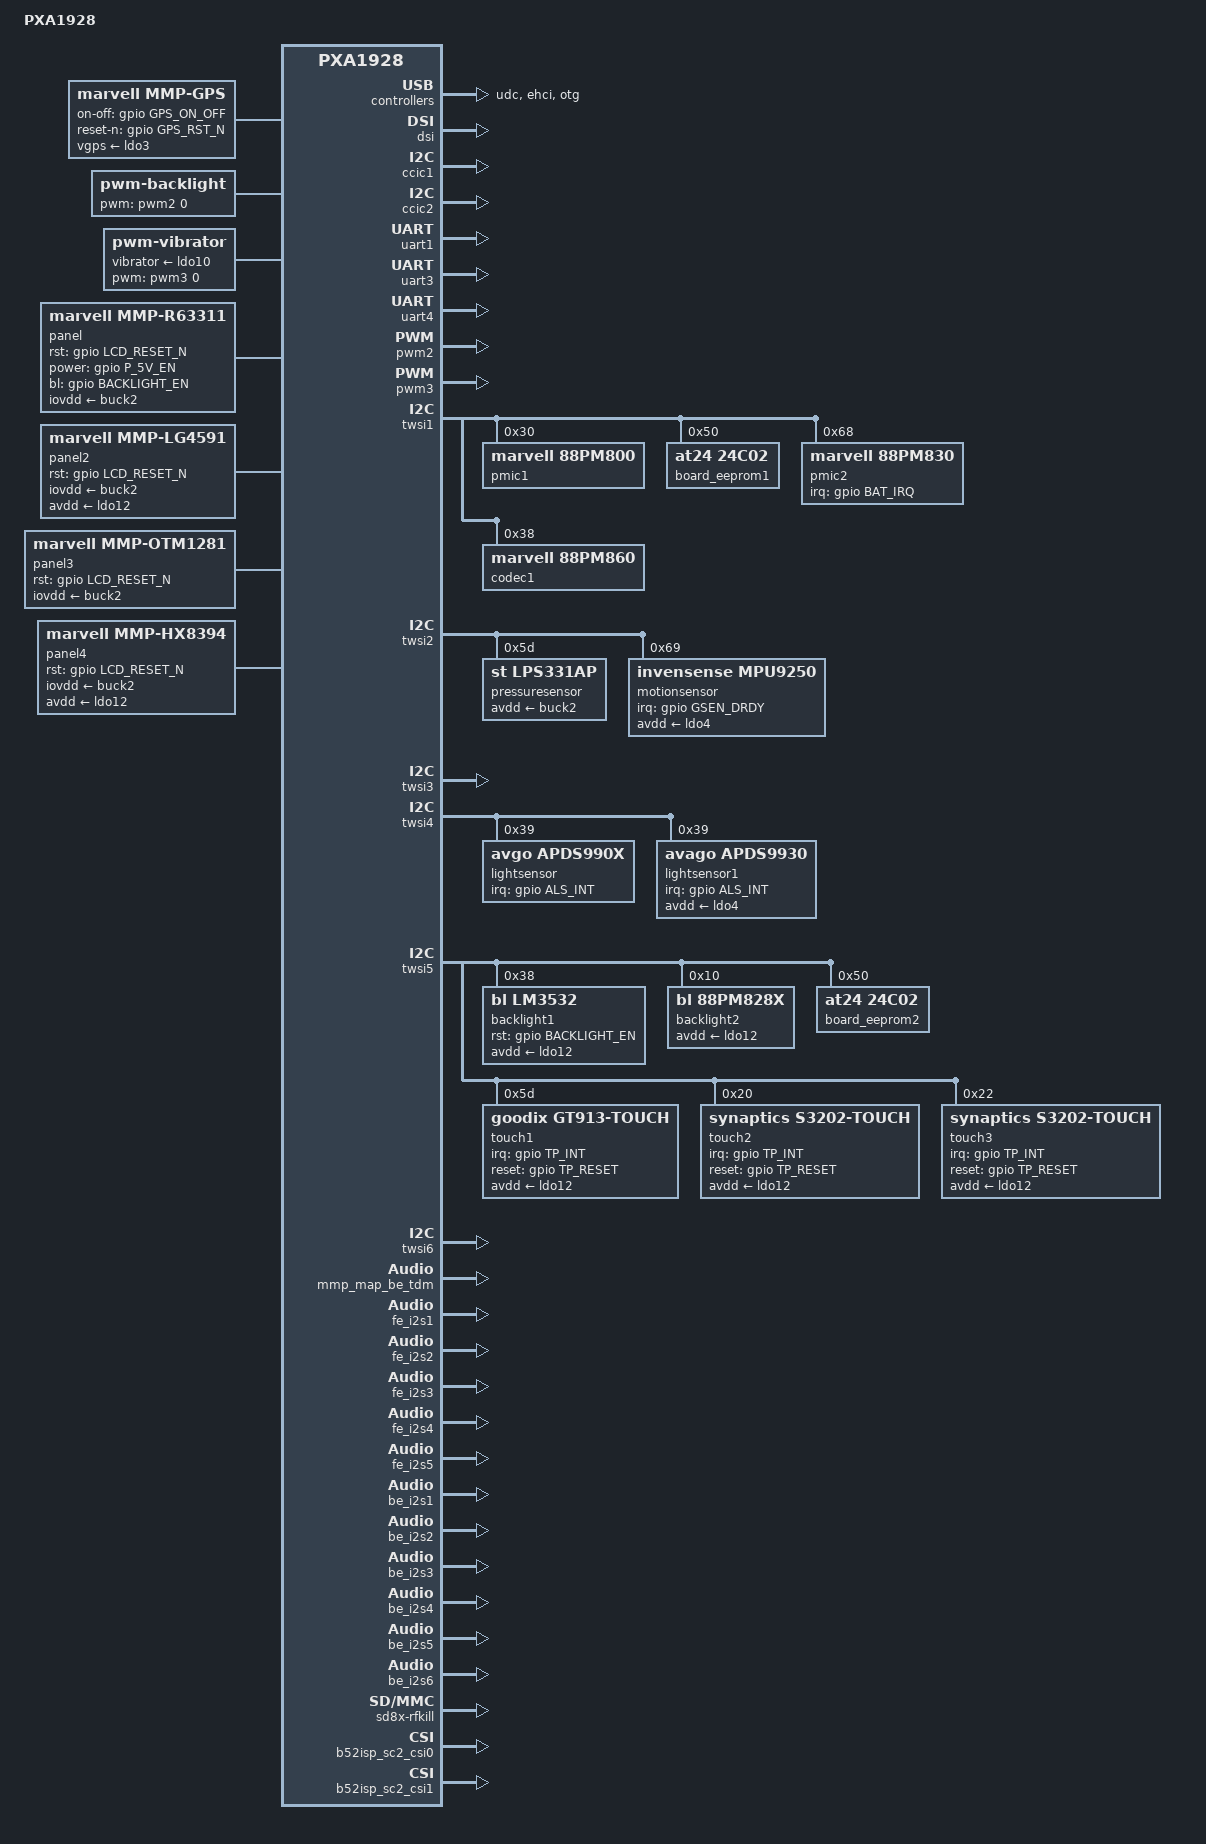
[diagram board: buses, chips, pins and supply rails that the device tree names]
/*
 *  Copyright (C) 2012 Marvell Technology Group Ltd.
 *  Author: Jing Xiang <jing.xiang@marvell.com>
 *
 *  This program is free software; you can redistribute it and/or modify
 *  it under the terms of the GNU General Public License version 2 as
 *  publishhed by the Free Software Foundation.
 */

/dts-v1/;
/memreserve/ 0x09000000 0x01000000;	/* GC reserved 16M */
/memreserve/ 0x17000000 0x017f4c00;	/* default fb-mem (size: 256_align(1080*4)*1920*3+pitch_align(256_align(1080*4)*1920/512)*3(for dec header)) */
/memreserve/ 0x08100000 0x00040000;	/* ramoops buffer (256KB) */
#include "pxa1928.dtsi"
#include "pxa1928concord-pinfunc.h"
#include "regulator.h"
#include "pxa1928concord-pmic.dtsi"
#include <dt-bindings/mmc/pxa_sdhci.h>

/ {
	model = "PXA1928";
	compatible = "mrvl,pxa1928-concord", "mrvl,pxa1928";

	interrupt-parent = <&gic>;

	aliases {
		serial0 = &uart3;
		serial2 = &uart1;
	};

	memory {
		device_type = "memory";
		reg = <0 0 0x40000000>;
	};

	gic: interrupt-controller@d1e02000 {
		status = "okay";
	};

	generic-timer {
		status = "okay";
	};

	gps: mmp-gps {
		compatible = "marvell,mmp-gps";
		pinctrl-names = "lpm_drv_low", "lpm_drv_high";
		pinctrl-0 = <&gps_lpm_drv_low_pins>;
		pinctrl-1 = <&gps_lpm_drv_high_pins>;
		marvell,mfp-lpm;
		vgps-supply = <&ldo3>;
		on-off-gpio = <&gpio GPS_ON_OFF 0>;
		reset-n-gpio = <&gpio GPS_RST_N 0>;
	};

	soc {
		axi@d4200000 {	/* AXI */
			wakeup: wakeupgen@d4284000 {
				compatible = "mrvl,pxa1928-intc-wakeupgen";
				reg = <0xd4284000 0x1000>,
					<0xd4282800 0x3ec>;
				mrvl,intc-gbl-mask = <0x114 0x1
							0x1d8 0x1
							0x208 0x1
							0x238 0x1>;
				mrvl,intc-for-sp = <>;
				mrvl,intc-wake-clr = <>;
			};

			usbphy: usbphy@d4207000 {
				status = "okay";
			};

			udc: udc@d4208100 {
				status = "okay";
			};

			ehci: ehci@d4208100 {
				status = "okay";
			};

			otg: otg@d4208100 {
				status = "okay";
			};

			hsicphy: hsicphy@f0a01800 {
				status = "okay";
			};

			hsic: hsic@f0a01100 {
				status = "okay";
			};

			dsi: dsi@d420b800 {
				marvell,phy-name = "mmp_dsi1";
				marvell,plat-path-name = "mmp_pnpath";
				marvell,dsi-lanes = <4>;
				marvell,burst-mode = <2>;
				marvell,hbp-en;
				dsi_avdd-supply = <&buck3>;
				status = "okay";
			};

			vdma: vdma@d427f000 {
				marvell,vdma-num = <4>;
				status = "okay";
				vdma1 {
					marvell,vdma-id = <0>;
					marvell,sram-size = <69632>;
					marvell,is_vid = <0>;
				};
				vdma2 {
					marvell,vdma-id = <1>;
					marvell,sram-size = <0>;
					marvell,is_vid = <0>;
				};
				vdma3 {
					marvell,vdma-id = <2>;
					marvell,sram-size = <60928>;
					marvell,is_vid = <1>;
				};
				vdma4 {
					marvell,vdma-id = <3>;
					marvell,sram-size = <0>;
					marvell,is_vid = <1>;
				};
			};

			apical: apical@d420b400 {
				marvell,apical-num = <1>;
			};

			disp: disp@d420b000 {
				marvell,disp-name = "mmp_disp";
				marvell,path-num = <1>;
				marvell,disp-aclk-dfc;
				marvell,disp-aclk-parent = "pll1_d2", "pll1_416", "pll1_624";
				status = "okay";
				path1 {
					marvell,path-name = "mmp_pnpath";
					marvell,overlay-num = <2>;
					marvell,overlay-table = <0>, <1>;
					marvell,output-type = <1>;
					marvell,path-config = <0x10>;
					marvell,link-config = <1>;
					pn_sclk_clksrc {
						clksrc = "disp1";
					};
					disp1_clksrc {
						clksrc = "pll1_416";
					};
					disp_apmu {
						plat = <2>;
						apmu-reg = <0xd4282984>;
						clksrc-bit = <12>;
						parent1-clk-tbl = "disp1", "pll3";
						parent2-clk-tbl = "pll1_416", "pll1_624", "pll3";
					};
				};
			};

			fb: fbbase {
				marvell,fb-name = "mmp_fb";
				marvell,path-name = "mmp_pnpath";
				marvell,overlay-id = <1>;
				marvell,default-pixfmt = <0x109>;
				marvell,buffer-num = <3>;
				marvell,fb-mem = <0x17000000>;
				status = "okay";
			};

			fb1: fb-overlay {
				marvell,fb-name = "mmp_fb_overlay";
				marvell,path-name = "mmp_pnpath";
				marvell,overlay-id = <0>;
				status = "okay";
			};

			gpu {
				gpu-mem-base = <0x09000000>;
				gpu-mem-size = <0x1000000>;
				status = "okay";
			};

			gpu2d {
				status = "okay";
			};

			sc2mmu1: sc2mmu@d4209000 {
				status = "okay";
			};

			ccic1: ccic@d420a000 {
				status = "okay";
				pinctrl-names = "default", "twsi3", "sccb";
				pinctrl-0 = <&twsi3_ccic1_gpio_pins>;
				pinctrl-1 = <&twsi3_ccic1_pins>;
				pinctrl-2 = <&twsi3_ccic1_sccb_pins>;
			};

			ccic2: ccic@d420a800 {
				status = "okay";
				pinctrl-names = "default", "twsi3", "sccb";
				pinctrl-0 = <&twsi3_ccic2_gpio_pins>;
				pinctrl-1 = <&twsi3_ccic2_pins>;
				pinctrl-2 = <&twsi3_ccic2_sccb_pins>;
				ccic_couple {
					    ccic_coupled = <1>;
				};
			};

			adma0: adma@c0ffd800 {
				status = "okay";
			};
			adma1: adma@c0ffd900 {
				status = "okay";
			};

			/* emmc */
                        sdh3: sdh@d4217000 {
                                pinctrl-names = "default", "fast";
                                pinctrl-0 = <&sdh3_pins_pullup &sdh3_pins_pulldn>;
                                pinctrl-1 = <&sdh3_pins_pullup_fast &sdh3_pins_pulldn_fast>;
                                bus-width = <8>;
                                non-removable;
				marvell,sdh-pm-runtime-en;
				marvell,sdh-flags = <(
						PXA_FLAG_SD_8_BIT_CAPABLE_SLOT |
						PXA_FLAG_ENABLE_CLOCK_GATING |
						PXA_FLAG_NEW_RX_CFG_REG |
						PXA_FLAG_TX_SEL_BUS_CLK
					     )>;
				marvell,sdh-quirks = <(SDHCI_QUIRK_BROKEN_CARD_DETECTION)>;
				marvell,sdh-quirks2 = <(
						SDHCI_QUIRK2_TIMEOUT_SHORT |
						SDHCI_QUIRK2_TUNING_ADMA_BROKEN |
						SDHCI_QUIRK2_FAKE_CMD_INDEX_ERR
						)>;
				marvell,sdh-host-caps = <(MMC_CAP_1_8V_DDR)>;
				marvell,sdh-host-caps2 = <(MMC_CAP2_HS200_1_8V_SDR)>;
/* prop "mrvl,dtr_data": <timing preset_rate src_rate tx_delay rx_delay rx_clk_sel0 rx_clk_sel1 fclk_tune_level fclk_fix_en> */
				marvell,sdh-dtr-data = <PXA_MMC_TIMING_LEGACY PXA_SDH_DTR_26M PXA_SDH_DTR_156M 0 0 0 0 0 0>,
						<PXA_MMC_TIMING_MMC_HS PXA_SDH_DTR_52M PXA_SDH_DTR_156M 0 0 0 0 4 0>,
						<PXA_MMC_TIMING_UHS_DDR50 PXA_SDH_DTR_52M PXA_SDH_DTR_156M 298 673 2 1 4 0>,
						<PXA_MMC_TIMING_MMC_HS200 PXA_SDH_DTR_156M PXA_SDH_DTR_156M 292 210 3 1 0 0>,
						<PXA_MMC_TIMING_MAX PXA_SDH_DTR_PS_NONE PXA_SDH_DTR_156M 0 0 0 0 0 0>;
                                marvell,sdh-tuning-win-limit = <150>;
                                marvell,sdh-dvfs-levels = <4 15>; /* tuning from dvfs level 0 to 15  */
                                marvell,sdh-tuning-mode = <PXA_SDH_TUNING_DVFS>;
				status = "okay";
                        };

			/* sd card */
                        sdh1: sdh@d4280000 {
                                pinctrl-names = "default", "fast";
                                pinctrl-0 = <&sdh1_pins_pullup &sdh1_pins_pulldn>;
                                pinctrl-1 = <&sdh1_pins_pullup_fast &sdh1_pins_pulldn_fast>;
                                bus-width = <4>;
                                vqmmc-supply    = <&ldo17>;
                                vmmc-supply     = <&ldo5>;
				marvell,sdh-pm-runtime-en;
				marvell,sdh-flags = <(
						PXA_FLAG_ENABLE_CLOCK_GATING |
						PXA_FLAG_NEW_RX_CFG_REG |
						PXA_FLAG_TX_SEL_BUS_CLK
					     )>;
				marvell,sdh-quirks2 = <(
						SDHCI_QUIRK2_TIMEOUT_SHORT |
						SDHCI_QUIRK2_BASE_CLOCK_ALWAYS_ON |
						SDHCI_QUIRK2_TUNING_ADMA_BROKEN |
						SDHCI_QUIRK2_SET_AIB_MMC |
						SDHCI_QUIRK2_DMA_CLOCK_FORCE_ON |
						SDHCI_QUIRK2_FAKE_CMD_INDEX_ERR
						)>;
/* prop "mrvl,dtr_data": <timing preset_rate src_rate tx_delay rx_delay rx_clk_sel0 rx_clk_sel1 fclk_tune_level fclk_fix_en> */
				marvell,sdh-dtr-data = <PXA_MMC_TIMING_LEGACY PXA_SDH_DTR_26M PXA_SDH_DTR_156M 0 0 0 0 0 0>,
						<PXA_MMC_TIMING_SD_HS PXA_SDH_DTR_52M PXA_SDH_DTR_156M 0 0 0 0 4 0>,
						<PXA_MMC_TIMING_UHS_DDR50 PXA_SDH_DTR_52M PXA_SDH_DTR_156M 266 0 0 0 4 0>,
						<PXA_MMC_TIMING_UHS_SDR104 PXA_SDH_DTR_156M PXA_SDH_DTR_156M 248 327 3 1 0 0>,
						<PXA_MMC_TIMING_MAX PXA_SDH_DTR_PS_NONE PXA_SDH_DTR_156M 0 0 0 0 0 0>;
                                marvell,sdh-tuning-win-limit = <150>;
                                marvell,sdh-dvfs-levels = <4 15>; /* tuning from dvfs level 0 to 15  */
                                marvell,sdh-tuning-mode = <PXA_SDH_TUNING_DVFS>;
				status = "okay";
                        };

			/* sdio */
			sdh2: sdh@d4280800 {
				pinctrl-names = "default", "fast", "sleep";
				pinctrl-0 = <&sdh2_pins_pullup &sdh2_pins_pulldn>;
				pinctrl-1 = <&sdh2_pins_pullup_fast &sdh2_pins_pulldn_fast>;
				pinctrl-2 = <&sdh2_pins_edge_wakeup>;
				bus-width = <4>;
				marvell,sdh-pm-runtime-en;
				marvell,sdh-quirks = <(SDHCI_QUIRK_BROKEN_CARD_DETECTION)>;
				marvell,sdh-quirks2 = <(
						SDHCI_QUIRK2_FAKE_SDIO_IRQ_IN_UHS |
						SDHCI_QUIRK2_TUNING_ADMA_BROKEN |
						SDHCI_QUIRK2_TIMEOUT_SHORT |
						SDHCI_QUIRK2_BASE_CLOCK_ALWAYS_ON |
						SDHCI_QUIRK2_MANUAL_CARD_DETECT |
						SDHCI_QUIRK2_HOLDSUSPEND_AFTER_REQUEST |
						SDHCI_QUIRK2_FAKE_CMD_INDEX_ERR
						)>;
				marvell,sdh-pm-caps = <(MMC_PM_KEEP_POWER)>;
				marvell,sdh-host-caps2 = <(MMC_CAP2_NO_VOLTAGE_SWITCH)>;
				marvell,sdh-flags = <(
						PXA_FLAG_WAKEUP_HOST |
						PXA_FLAG_TX_SEL_BUS_CLK |
						PXA_FLAG_NEW_RX_CFG_REG |
						PXA_FLAG_DISABLE_PROBE_CDSCAN
						)>;
/* prop "mrvl,dtr_data": <timing preset_rate src_rate tx_delay rx_delay rx_clk_sel0 rx_clk_sel1 fclk_tune_level fclk_fix_en> */
				marvell,sdh-dtr-data = <PXA_MMC_TIMING_LEGACY PXA_SDH_DTR_26M PXA_SDH_DTR_156M 0 0 0 0 0 0>,
						<PXA_MMC_TIMING_SD_HS PXA_SDH_DTR_52M PXA_SDH_DTR_156M 0 0 0 0 4 0>,
						<PXA_MMC_TIMING_UHS_DDR50 PXA_SDH_DTR_52M PXA_SDH_DTR_156M 0 0 0 0 4 0>,
						<PXA_MMC_TIMING_UHS_SDR104 PXA_SDH_DTR_156M PXA_SDH_DTR_156M 250 260 3 1 0 0>,
						<PXA_MMC_TIMING_MAX PXA_SDH_DTR_PS_NONE PXA_SDH_DTR_156M 0 0 0 0 0 0>;
                                marvell,sdh-tuning-win-limit = <150>;
                                marvell,sdh-dvfs-levels = <4 15>; /* tuning from dvfs level 0 to 15  */
                                marvell,sdh-tuning-mode = <PXA_SDH_TUNING_DVFS>;
				marvell,sdh-sdio-probe-tune;
				status = "okay";
			};

		};

		axi@f0400000 {
			dec@0xf0400000 {
				marvell,codec-type = <0>;
				marvell,hw-capacity = <0>;
				status = "okay";
			};

			pp@0xf0400000 {
				marvell,codec-type = <1>;
				marvell,hw-capacity = <0>;
				status = "okay";
			};

			enc@0xf0400800 {
				marvell,codec-type = <2>;
				marvell,hw-capacity = <0>;
				status = "okay";
			};

			b52isp: b52isp@0xF0B00000 {
				status = "okay";
			};
		};

		apb@d4000000 {
			/* PDMA Controller 0 */
			pdma0: pdma@d4000000 {
				status = "okay";
			};

			/* PDMA Controller 1 */
			pdma1: pdma@d4008000 {
				status = "okay";
			};

			/* UART for GPS */
			uart1: uart@d4030000 {
				pinctrl-names = "default"; pinctrl-0 = <&uart1_pins>;
				status = "okay";
			};

			/* UART for AP */
			uart3: uart@d4018000 {
				pinctrl-names = "default","sleep";
				pinctrl-0 = <&uart3_pins_rx &uart3_pins_tx>;
				pinctrl-1 = <&uart3_pins_rx_sleep &uart3_pins_tx>;
				edge-wakeup-gpio = <UART3_RXD_GPIO>;
				status = "okay";
			};

			/* UART for WIFI and SPI NOR */
			uart4: uart@d4016000 {
				pinctrl-names = "default"; pinctrl-0 = <&uart4_pins>;
				status = "okay";
			};

			pwm2: pwm@d401a400 {
				pinctrl-names = "default"; pinctrl-0 = <&pwm2_pins>;
				status = "okay";
			};

			pwm3: pwm@d401a800 {
				pinctrl-names = "default"; pinctrl-0 = <&pwm3_pins>;
				status = "okay";
			};

			mfpr: mfpr@d401e000 {
				pinctrl-names = "default";
				reg = <0xd401e000 0x31c>;
				pinctrl-0 = <&mfp_pins_left_mmc1_1 &mfp_pins_left_mmc1_2 &mfp_pins_group_1 &mfp_pins_left_cp >;
				status = "okay";
			};

			gpio: gpio@d4019000 {
				status = "okay";
			};

			/*
			 * Notice: the spi pins are shared with uart4 which are also connected to wib card.
			 * Spi function will set rx/tx to low which trigger data transfer and cost ~40mA.
			 * So must make sure wib card is removed before enable spi function.
			 */
			spi1: spi@d4035000 {
					pinctrl-names = "default";
					pinctrl-0 = <&spi1_pins>;
					#address-cells = <1>;
					#size-cells = <0>;
					marvell,ssp-enhancement;
					status = "disabled";
					cmmb_if {
						compatible = "maxscend,cmmb";
						bits_per_word = /bits/ 8 <8>;
						reg = <0x0 0x0>;
						bus_num = <1>;
						mode = <0x0>;
						spi-max-frequency = <8000000>;
					};
			};

			twsi1: i2c@d4011000 {
				pinctrl-names = "default", "gpio", "i2c_cp";
				pinctrl-0 = <&twsi1_pins>;
				pinctrl-1 = <&twsi1_gpio_pins>;
				pinctrl-2 = <&twsi1_cp_pins>;
				i2c-gpio = <&gpio PWR_SCL_GPIO 0 &gpio PWR_SDA_GPIO 0>;
				mrvl,i2c-apdcp;
				status = "okay";
				pmic1: 88pm860@30 {
					compatible = "marvell,88pm800";
					reg = <0x30>;
					interrupts = <0 77 0x4>;
					interrupt-parent = <&gic>;
					interrupt-controller;
					#interrupt-cells = <1>;
					marvell,88pm800-power-page-addr = <0x31>;
					marvell,88pm800-gpadc-page-addr = <0x32>;

					regulators {
						compatible = "marvell,88pm80x-regulator";

						buck1a: BUCK1A {PM800_BUCK1A;regulator-boot-on;regulator-always-on;};
						buck2: BUCK2 {PM800_BUCK2;regulator-boot-on;regulator-always-on;};
						buck3: BUCK3 {PM800_BUCK3;regulator-boot-on;regulator-always-on;};
						buck4: BUCK4 {PM800_BUCK4;regulator-boot-on;regulator-always-on;};
						buck5: BUCK5 {PM800_BUCK5;regulator-always-on;};
						buck6: BUCK6 {PM800_BUCK6;};
						buck1b: BUCK1B {PM800_BUCK1B;regulator-boot-on;regulator-always-on;};
						ldo1: LDO1 {PM800_LDO1;regulator-boot-on;regulator-always-on;};
						ldo2: LDO2 {PM800_LDO2;regulator-boot-on;regulator-always-on;};
						ldo3: LDO3 {PM800_LDO3;};
						ldo4: LDO4 {PM800_LDO4;regulator-boot-on;regulator-always-on;};
						ldo5: LDO5 {PM800_LDO5;};
						ldo6: LDO6 {PM800_LDO6;};
						ldo7: LDO7 {PM800_LDO7;};
						ldo8: LDO8 {PM800_LDO8;regulator-boot-on;regulator-always-on;};
						ldo9: LDO9 {PM800_LDO9;};
						ldo10: LDO10 {PM800_LDO10;};
						ldo11: LDO11 {PM800_LDO11;regulator-boot-on;regulator-always-on;};
						ldo12: LDO12 {PM800_LDO12;regulator-boot-on;regulator-always-on;};
						ldo13: LDO13 {PM800_LDO13;};
						ldo14: LDO14 {PM800_LDO14;};
						ldo15: LDO15 {PM800_LDO15;};
						ldo16: LDO16 {PM800_LDO16;regulator-boot-on;regulator-always-on;};
						ldo17: LDO17 {PM800_LDO17;};
						ldo18: LDO18 {PM800_LDO18;};
						ldo19: LDO19 {PM800_LDO19;regulator-boot-on;};
						ldo20: LDO20 {PM800_LDO20;};
					};
					headset {
						compatible = "marvell,88pm80x-headset";
						marvell,headset-flag = <1>;
						marvell,hook-press-th = <60>;
						marvell,vol-up-press-th = <250>;
						marvell,vol-down-press-th = <500>;
						marvell,mic-det-th = <600>;
						marvell,press-release-th = <600>;
						marvell,ground-detect = <0>;
						marvell,micbias-supply = <&ldo20>;
						marvell,micbias-volt = <1700>;
					};
                                        dvc {
                                                compatible = "marvell,88pm8xx-dvc";
							/* pm860 dvc affect buck1/3/5, affected 32bit = (1 << 4) | (1 << 2) | (1 << 0)*/
							/* we don't need to set buck1b since dual phase mode is enabled. */
							dvc-affected-buckbits = <21>;
							pinctrl-names = "default";
							pinctrl-0 = <&dvc_pins>;
					};
					onkey {
						compatible = "marvell,88pm80x-onkey";
						onkey-gpio-number = <1>;
						/* hardware reset: just reset */
						hw-rst-type = <1>;
						/* long onkey: power down */
						long-onkey-type = <1>;
					};
				};

				board_eeprom1:24aa025t@50 {
					compatible = "at24,24c02";
					reg = <0x50>;
				};

				pmic2: 88pm830@68 {
					compatible = "marvell,88pm830";

					/* gpio 4, 5, 75 */
					pinctrl-names = "default","sleep";
					pinctrl-0 = <&pmic2_pins>;
					pinctrl-1 = <&pmic2_pins_sleep>;

					reg = <0x68>;
					interrupt-parent = <&gpio>;
					interrupt-controller;
					interrupts = <BAT_IRQ 0x2>;
					#interrupt-cells = <1>;
					edge-wakeup-gpio = <BAT_IRQ>;

					/* IRQF_ONESHOT | IRQF_TRIGGER_FALLING */
					marvell,88pm830-irq-flags =  <0x2002>;

					/* skip battery detection */
					obm-config-bat-det;

					/*
					 * charger, batttery parameters are based on Lenovo BL209 battery
					 * Part Name: Li-ion Polymer Rechargeable Battery
					 * Pack Parts No.: ALE455557SA
					 * Pack Standard: 2000mAh(0.2C)
					 * Cell Model: SP455557SA
					 * Pack Model: 1S1P-SP455557SA-PCM
					 */
					charger {
						compatible = "marvell,88pm830-chg";
						prechg-current = <100>;	/* mA */
						prechg-voltage = <3300>; /* mV */
						prechg-timeout = <32>; /* minute */

						fastchg-eoc = <20>; /* mA */
						fastchg-voltage = <4200 4200 4000>; /* mV for STR, LTR, HTR */
						fastchg-current = <1500 1000 1500>; /* mA for STR, LTR, HTR */
						fastchg-timeout = <8>; /* hour */

						over-voltage = <4500>; /* mV */

						no-thermal-support = <1>;
						thermal-threshold = <0x54 0x36 0x14 0xe>;

						temp-configure = <0x22>;
						temp-threshold = <150>;

						mppt-weight = <0x2>; /* 25% */
						mppt-period = <0x7>; /* 20ms */
						mppt-start-current = <0xf>; /* 1600mA */

					};

					battery {
						compatible = "marvell,88pm830-bat";

						marvell,fg-has-external-storage;
						external-storage = <&pmic1>;

						bat-ntc-support = <1>;
						bat-capacity = <2000>;	/* mAh */
						external-resistor = <200>; /* mohm */
						sleep-period = <1000>; /* second */
						supp-threshold = <95>; /* % */
						low-threshold = <30>; /* % */
						high-threshold = <50>; /* % */
						ocv-table = <
							3397 3445 3477 3496 3506 3513 3519 3526 3532 3540
							3551 3563 3576 3587 3600 3612 3625 3637 3649 3662
							3674 3687 3699 3709 3719 3727 3733 3739 3744 3748
							3752 3755 3758 3761 3763 3765 3766 3767 3769 3770
							3771 3772 3773 3774 3776 3777 3778 3780 3781 3784
							3786 3790 3794 3799 3805 3812 3819 3828 3838 3846
							3854 3860 3867 3873 3879 3885 3891 3897 3903 3910
							3916 3923 3930 3937 3944 3951 3959 3966 3973 3981
							3989 3997 4006 4015 4024 4034 4043 4053 4063 4073
							4082 4092 4102 4112 4122 4133 4144 4155 4167 4179
						>;
						power-off-threshold = <3350>; /* mV */
						safe-power-off-threshold = <3000>; /* mV */

						/* battery temerature feature parameters */
						temp-range-num = <2>;
						switch-thr = <15 64 64>; /* C */
						gp0-bias-curr = <16 56 56 56>; /* uA */
						/* choose -20C, 0C, 10C, 45C, 50C, 60C as threshold */
						r-tbat-thr = <77523 28704 18410 4847 4101 2981>; /* ohm */
						ntc-table-size = <88>;
						/* -24C, -23C, ..., 62C, 63C */
						ntc-table = <
							96391 91222 86369 81809 77523 73492 69701 66132
							62772 59606 56623 53810 51157 48654 46290 44058
							41950 39957 38072 36290 34603 33006 31494 30062
							28704 27417 26197 25039 23940 22897 21906 20964
							20070 19219 18410 17641 16909 16212 15548 14916
							14313 13739 13192 12670 12171 11696 11242 10809
							10395 10000 9622  9261  8916  8585  8269  7967
							7678  7400  7135  6881  6637  6403  6180  5965
							5759  5561  5372  5189  5015  4847  4686  4531
							4382  4238  4101  3969  3842  3719  3601  3488
							3379  3274  3172  3075  2981  2890  2803  2719
						>;
					};

					usb {
						compatible = "marvell,88pm830-vbus";
						gpadc-number = <1>;
					};

					led {
						compatible = "marvell,88pm830-led";

						flash-en-gpio = <FLASH_EN>;
						flash-txmsk-gpio = <TORCH_EN>;
						max-flash-current = <1000>; /* mA */
						max-torch-current = <400>; /* mA */
					};
				};

				codec1: 88pm860@38 {
					compatible = "marvell,88pm860";
					reg = <0x38>;
					status = "okay";
					pm860_codec: pm860_codec {
						compatible = "marvell,88pm860-codec";
						#dailink-cells = <1>;
					};
				};
			};

			twsi2: i2c@d4031000 {
				pinctrl-names = "default", "gpio";
				pinctrl-0 = <&twsi2_pins>;
				pinctrl-1 = <&twsi2_gpio_pins>;
				i2c-gpio = <&gpio TWSI2_SCL_GPIO 0 &gpio TWSI2_SDA_GPIO 0>;
				mrvl,i2c-polling;
				status = "okay";

				pressuresensor: lps331ap@5d {
					compatible = "st,lps331ap";
					reg = <0x5d>;
					lps331ap,poll_interval = <1000>;
					avdd-supply = <&buck2>;
				};

				motionsensor: mpu9250@69 {
					pinctrl-names = "default"; pinctrl-0 = <&motion_sensor_pins>;
					compatible = "invensense,mpu9250";
					reg = <0x69>;
					interrupt-parent = <&gpio>;
					interrupts = <GSEN_DRDY 0x2>;
					inven,irq-gpios = <&gpio GSEN_DRDY 0x00>;
					avdd-supply = <&ldo4>;
					axis_map_x = <0>;
					negate_x = <0>;
					axis_map_y = <1>;
					negate_y = <0>;
					axis_map_z = <2>;
					negate_z = <0>;
					inven,secondary_axis_map_x = <0>;
					inven,secondary_negate_x = <0>;
					inven,secondary_axis_map_y = <1>;
					inven,secondary_negate_y = <0>;
					inven,secondary_axis_map_z = <2>;
					inven,secondary_negate_z = <0>;
					inven,secondary_type = "compass";
					inven,secondary_name = "ak8963";
					inven,secondary_reg = <0xc>;
				};
			};

			twsi3: i2c@d4032000 {
				/*For B0 chip, pinctrl-0 is used for smart sensor, host I2C
				* pinctrl-1 is used for raw sensor, SCCB
				* we have to uncomment these lines to avoid GPIO configuration conflict
				* let camera module handle these GPIO pins
				*/
				/*
				pinctrl-names = "default", "gpio";
				pinctrl-0 = <&twsi3_pins>;
				pinctrl-1 = <&twsi3_gpio_pins>;
				i2c-gpio = <&gpio TWSI3_SCL_GPIO 0 &gpio TWSI3_SDA_GPIO 0>;
				*/
				status = "okay";
			};

			twsi4: i2c@d4033000 {
				pinctrl-names = "default", "gpio";
				pinctrl-0 = <&twsi4_pins>;
				pinctrl-1 = <&twsi4_gpio_pins>;
				i2c-gpio = <&gpio TWSI4_SCL_GPIO 0 &gpio TWSI4_SDA_GPIO 0>;
				status = "okay";

				lightsensor: apds990x@39 {
					pinctrl-names = "default"; pinctrl-0 = <&lightsensor_pins>;
					compatible = "avgo,apds990x";
					reg = <0x39>;
					interrupt-parent = <&gpio>;
					interrupts = <ALS_INT 0x1>;
				};

				lightsensor1: apds9930@39 {
					pinctrl-names = "default"; pinctrl-0 = <&lightsensor_pins>;
					compatible = "avago,apds9930";
					reg = <0x39>;
					interrupt-parent = <&gpio>;
					interrupts = <ALS_INT 0x1>;
					irq-gpios = <&gpio ALS_INT 0>;
					avdd-supply = <&ldo4>;
				};
			};

			twsi5: i2c@d4033800 {
				pinctrl-names = "default", "gpio";
				pinctrl-0 = <&twsi5_pins>;
				pinctrl-1 = <&twsi5_gpio_pins>;
				i2c-gpio = <&gpio TWSI5_SCL_GPIO 0 &gpio TWSI5_SDA_GPIO 0>;
				status = "okay";

				backlight1: lm3532@38 {
					compatible = "bl,lm3532";
					reg = <0x38>;
					flags = <0>;
					ramp_time = <0>;
					ctrl_a_fs_current = <0x13>;
					ctrl_a_mapping_mode = <0x2>;
					ctrl_a_pwm = <0x86>;
					rst_gpio = <&gpio BACKLIGHT_EN 0>;
					avdd-supply = <&ldo12>;
					feedback_en_val = <0x03>;
					output_cfg_val = <0x0>;
				};

				backlight2: pm828x@10 {
					compatible = "bl,88pm828x";
					reg = <0x10>;
					ramp_mode = <0x2>;
					idac_current = <0xa00>;
					ramp_clk = <0>;
					str_config = <0x1>;
					avdd-supply = <&ldo12>;
				};

				board_eeprom2:24aa025t@50 {
					compatible = "at24,24c02";
					reg = <0x50>;
				};

				touch1: gt913@5d {
					compatible = "goodix,gt913-touch";
					pinctrl-names = "default"; pinctrl-0 = <&touch_pins>;
					reg = <0x5d>;
					interrupt-parent = <&gpio>;
					interrupts = <TP_INT 0x1>;
					irq-gpios = <&gpio TP_INT 0>;
					reset-gpios = <&gpio TP_RESET 0>;
					goodix,max-height = <1280>;
					goodix,max-width = <720>;
					avdd-supply = <&ldo12>;
				};

				touch2: s3202@720p {
					compatible = "synaptics,s3202-touch";
					pinctrl-names = "default"; pinctrl-0 = <&touch_pins>;
					reg = <0x20>;
					interrupt-parent = <&gpio>;
					interrupts = <TP_INT 0x1>;
					/* IRQF_ONESHOT | IRQF_TRIGGER_FALLING */
					synaptics,irq-flags =  <0x2002>;
					synaptics,irq-gpios = <&gpio TP_INT 0>;
					synaptics,reset-gpios = <&gpio TP_RESET 0>;
					synaptics,sensor_res_x = <720>;
					synaptics,sensor_res_y = <1280>;
					synaptics,sensor_max_x = <798>;
					synaptics,sensor_max_y = <1392>;
					synaptics,sensor_margin_x = <39>;
					synaptics,sensor_margin_y = <0>;
					avdd-supply = <&ldo12>;
				};

				touch3: s3202@1080p {
					compatible = "synaptics,s3202-touch";
					pinctrl-names = "default"; pinctrl-0 = <&touch_pins>;
					reg = <0x22>;
					interrupt-parent = <&gpio>;
					interrupts = <TP_INT 0x1>;
					/* IRQF_ONESHOT | IRQF_TRIGGER_FALLING */
					synaptics,irq-flags =  <0x2002>;
					synaptics,irq-gpios = <&gpio TP_INT 0>;
					synaptics,reset-gpios = <&gpio TP_RESET 0>;
					synaptics,sensor_res_x = <1080>;
					synaptics,sensor_res_y = <1920>;
					synaptics,sensor_max_x = <1080>;
					synaptics,sensor_max_y = <2070>;
					synaptics,sensor_margin_x = <0>;
					synaptics,sensor_margin_y = <0>;
					avdd-supply = <&ldo12>;
				};
			};

			twsi6: i2c@d4034000 {
				pinctrl-names = "default", "gpio";
				pinctrl-0 = <&twsi6_pins>;
				pinctrl-1 = <&twsi6_gpio_pins>;
				i2c-gpio = <&gpio TWSI6_SCL_GPIO 0 &gpio TWSI6_SDA_GPIO 0>;
				status = "okay";
			};

			thermal: thermal@d403b000 {
				status = "okay";
				thermal_policy = "DKB";
			};

			edgewakeup: edgewakeup@d4019800 {
				status = "okay";
			};

			keypad: keypad@d4012000 {
				marvell,direct-keys;
				marvell,direct-key-low-active;
				marvell,keypad-lpm-mod;
				marvell,direct-key-count = <8>;
				marvell,direct-key-mask = <0xff>;
				marvell,direct-key-map = < 0x00 0x72 0x00 0x00
						       0x00 0x00 0x00 0x73>;
				marvell,debounce-interval = <30>;
				pinctrl-names = "default";
				pinctrl-0 = <&keypad_in_func>;
				status = "okay";
			};

			rtc: rtc@d4010000 {
				status = "okay";
			};

			/* SSPA port 0 */
			sspa0: sspa@c0ffdc00 {
				pinctrl-names = "default";
				pinctrl-0 = <&sspa0_func>;
				playback_period_bytes = <4096>;
				playback_buffer_bytes = <12288>;
				capture_period_bytes = <4096>;
				capture_buffer_bytes = <8192>;
				sleep_vol = <0x1a>;
				#dailink-cells = <1>;
				status = "okay";
			};

			/* SSPA port 1 */
			sspa1: sspa@c0ffdd00 {
				pinctrl-names = "default";
				pinctrl-0 = <&sspa1_func>;
				playback_period_bytes = <16384>;
				playback_buffer_bytes = <32768>;
				capture_period_bytes = <4096>;
				capture_buffer_bytes = <8192>;
				sleep_vol = <0x1a>;
				#dailink-cells = <1>;
				status = "okay";
			};

			map: map@c3000000 {
				marvell,b0_fix;
				marvell,apll = <0>;
				status = "okay";
				mmp_map_codec: mmp_map_codec {
					compatible = "marvell,mmp-map-codec";
					#dailink-cells = <1>;
				};
				mmp_map_be: mmp_map_be {
					compatible = "marvell,mmp-map-be";
					#dailink-cells = <1>;
				};
				mmp_map_be_tdm: mmp_map_be_tdm {
					compatible = "marvell,mmp-map-be-tdm";
					#dailink-cells = <1>;
				};
			};

			pmx: pinmux@d401e000 {
				status = "okay";
				/* pin base, nr pins & gpio function */
				pinctrl-single,gpio-range = <PXA1928_GPIO_PINMUX>;

				uart1_pins: pinmux_uart1_pins {
					pinctrl-single,pins = <UART1_RXD UART1_TXD>;
					MFP_DEFAULT;
				};

				uart3_pins_rx: pinmux_uart3_pins_rx {
					pinctrl-single,pins = <UART3_RXD>;
					MFP_DEFAULT;
				};

				uart3_pins_tx: pinmux_uart3_pins_tx {
					pinctrl-single,pins = <UART3_TXD>;
					MFP_LPM_PULL_HIGH;
				};

				uart3_pins_rx_sleep: pinmux_uart3_pins_rx_sleep {
					pinctrl-single,pins = <UART3_RXD>;
					MFP_EDGE_BOTH_DETECT;
				};

				uart4_pins: pinmux_uart4_pins {
					pinctrl-single,pins = <UART4_RXD UART4_TXD
								UART4_RTS UART4_CTS>;
					MFP_DEFAULT;
				};

				pwm2_pins: pinmux_pwm2_pins {
					pinctrl-single,pins = <PWM2>;
					MFP_DEFAULT;
				};

				pwm3_pins: pinmux_pwm3_pins {
					pinctrl-single,pins = <PWM3>;
					MFP_DEFAULT;
				};

				ccic1_pins: pinmux_ccic1_pins {
					pinctrl-single,pins = <CAM_MCLK>;
					MFP_DEFAULT;
				};

				ccic2_pins: pinmux_ccic2_pins {
					pinctrl-single,pins = <CAM_MCLK>;
					MFP_DEFAULT;
				};

				spi1_pins: pinmux_spi1_pins {
					pinctrl-single,pins = <	SSP1_CLK SSP1_FRM
								SSP1_TXD SSP1_RXD>;
					MFP_DEFAULT;
				};

				twsi1_pins: pinmux_twsi1_pins {
					pinctrl-single,pins = <PWR_SCL PWR_SDA>;
					MFP_DEFAULT;
				};

				twsi1_gpio_pins: pinmux_twsi1_gpio_pins {
					pinctrl-single,pins = <GPIO(PWR_SCL_GPIO) GPIO(PWR_SDA_GPIO)>;
					MFP_DEFAULT;
				};

				twsi1_cp_pins: pinmux_twsi1_cp_pins {
					pinctrl-single,pins = <PWR_CP_SCL PWR_CP_SDA>;
					MFP_DEFAULT;
				};

				twsi2_pins: pinmux_twsi2_pins {
					pinctrl-single,pins = <TWSI2_SCL TWSI2_SDA>;
					MFP_DEFAULT;
				};

				twsi2_gpio_pins: pinmux_twsi2_gpio_pins {
					pinctrl-single,pins = <GPIO(TWSI2_SCL_GPIO) GPIO(TWSI2_SDA_GPIO)>;
					MFP_DEFAULT;
				};

				twsi3_ccic1_pins: pinmux_twsi3_ccic1_pins {
					pinctrl-single,pins = <TWSI3_SCL_1 TWSI3_SDA_1>;
					MFP_DEFAULT;
				};

				twsi3_ccic1_gpio_pins: pinmux_twsi3_gpio_pins {
					pinctrl-single,pins = <GPIO(TWSI3_SCL_1_GPIO) GPIO(TWSI3_SDA_1_GPIO)>;
					MFP_DEFAULT;
				};

				twsi3_ccic1_sccb_pins: pinmux_twsi3_sccb1_pins {
					pinctrl-single,pins = <TWSI3_SCL_SCCB1 TWSI3_SDA_SCCB1>;
					MFP_DEFAULT;
				};

				twsi3_ccic2_pins: pinmux_twsi3_ccic2_pins {
					pinctrl-single,pins = <TWSI3_SCL_2 TWSI3_SDA_2>;
					MFP_DEFAULT;
				};

				twsi3_ccic2_gpio_pins: pinmux_twsi3_ccic2_gpio_pins {
					pinctrl-single,pins = <GPIO(TWSI3_SCL_2_GPIO) GPIO(TWSI3_SDA_2_GPIO)>;
					MFP_DEFAULT;
				};

				twsi3_ccic2_sccb_pins: pinmux_twsi3_ccic2_sccb_pins {
					pinctrl-single,pins = <TWSI3_SCL_SCCB2 TWSI3_SDA_SCCB2>;
					MFP_DEFAULT;
				};

				twsi4_pins: pinmux_twsi4_pins {
					pinctrl-single,pins = <TWSI4_SCL TWSI4_SDA>;
					MFP_DEFAULT;
				};

				twsi4_gpio_pins: pinmux_twsi4_gpio_pins {
					pinctrl-single,pins = <GPIO(TWSI4_SCL_GPIO) GPIO(TWSI4_SDA_GPIO)>;
					MFP_DEFAULT;
				};

				twsi5_pins: pinmux_twsi5_pins {
					pinctrl-single,pins = <TWSI5_SCL TWSI5_SDA>;
					MFP_DEFAULT;
				};

				twsi5_gpio_pins: pinmux_twsi5_gpio_pins {
					pinctrl-single,pins = <GPIO(TWSI5_SCL_GPIO) GPIO(TWSI5_SDA_GPIO)>;
					MFP_DEFAULT;
				};

				twsi6_pins: pinmux_twsi6_pins {
					pinctrl-single,pins = <TWSI6_SCL TWSI6_SDA>;
					MFP_DEFAULT;
				};

				twsi6_gpio_pins: pinmux_twsi6_gpio_pins {
					pinctrl-single,pins = <GPIO(TWSI6_SCL_GPIO) GPIO(TWSI6_SDA_GPIO)>;
					MFP_DEFAULT;
				};

				pmic2_pins: pinmux_88pm830_pins {
					pinctrl-single,pins = <GPIO(BAT_IRQ) GPIO(TORCH_EN) GPIO(FLASH_EN)>;
					MFP_DEFAULT;
				};

				pmic2_pins_sleep: pinmux_88pm830_pins_sleep {
					pinctrl-single,pins = <GPIO(BAT_IRQ)>;
					DS_MEDIUM;PULL_NONE;EDGE_BOTH;LPM_NONE;
				};

				touch_pins: pinmux_touch_pins {
					pinctrl-single,pins = <GPIO(TP_INT) GPIO(TP_RESET)>;
					MFP_DEFAULT;
				};

				lightsensor_pins: pinmux_lightsensor_pins {
					pinctrl-single,pins = <GPIO(ALS_INT)>;
					MFP_PULL_UP;
				};

				motion_sensor_pins: pinmux_motion_sensor_pins {
					pinctrl-single,pins = <GPIO(GSEN_DRDY)>;
					MFP_PULL_LOW;
				};

				st21nfca_pins: pinmux_st21nfca_pins {
					pinctrl-single,pins = <GPIO(NFC_IRQ) GPIO(NFC_EN)>;
					MFP_PULL_LOW;
				};

				sdh3_pins_pullup: pinmux_sdh3_pins_pullup {
					pinctrl-single,pins = <
						MMC3_DAT7
						MMC3_DAT6
						MMC3_DAT5
						MMC3_DAT4
						MMC3_DAT3
						MMC3_DAT2
						MMC3_DAT1
						MMC3_DAT0
						MMC3_CMD
						MMC3_RST
					>;
					MFP_PULL_UP;
				};

				sdh3_pins_pullup_fast: pinmux_sdh3_pins_pullup_fast {
					pinctrl-single,pins = <
						MMC3_DAT7
						MMC3_DAT6
						MMC3_DAT5
						MMC3_DAT4
						MMC3_DAT3
						MMC3_DAT2
						MMC3_DAT1
						MMC3_DAT0
						MMC3_CMD
						MMC3_RST
					>;
					DS_FAST;PULL_UP;EDGE_NONE;LPM_NONE;
				};

				sdh3_pins_pulldn: pinmux_sdh3_pins_pulldn {
					pinctrl-single,pins = <
						MMC3_CLK
					>;
					MFP_PULL_DOWN;
				};

				sdh3_pins_pulldn_fast: pinmux_sdh3_pins_pulldn_fast {
					pinctrl-single,pins = <
						MMC3_CLK
					>;
					DS_FAST;PULL_DOWN;EDGE_NONE;LPM_NONE;
				};

				sdh1_pins_pullup: pinmux_sdh1_pins_pullup {
					pinctrl-single,pins = <
						MMC1_DAT3
						MMC1_DAT2
						MMC1_DAT1
						MMC1_DAT0
						MMC1_CMD
						MMC1_CD_N
						MMC1_WP
					>;
					MFP_PULL_UP;
				};

				sdh1_pins_pullup_fast: pinmux_sdh1_pins_pullup_fast {
					pinctrl-single,pins = <
						MMC1_DAT3
						MMC1_DAT2
						MMC1_DAT1
						MMC1_DAT0
						MMC1_CMD
						MMC1_CD_N
						MMC1_WP
					>;
					DS_FAST;PULL_UP;EDGE_NONE;LPM_NONE;
				};

				sdh1_pins_pulldn: pinmux_sdh1_pins_pulldn {
					pinctrl-single,pins = <
						MMC1_CLK
					>;
					MFP_PULL_DOWN;
				};

				sdh1_pins_pulldn_fast: pinmux_sdh1_pins_pulldn_fast {
					pinctrl-single,pins = <
						MMC1_CLK
					>;
					DS_FAST;PULL_DOWN;EDGE_NONE;LPM_NONE;
				};

				mfp_pins_left_mmc1_1: mfp_pins_left_mmc1_1 {
					pinctrl-single,pins = <
						MMC1_DAT7
						MMC1_DAT6
						MMC1_DAT5
						MMC1_DAT4
					>;
					MFP_PULL_UP;
				};

				/*
				 * This legacy sd card detect function (fn0) is selected by default,
				 * which must be disabled otherwise will conflict with actual cd function (MMC1_CD_N).
				 */
				mfp_pins_left_mmc1_2: mfp_pins_left_mmc1_2 {
					pinctrl-single,pins = < MMC1_CD_PAD >;
					MFP_DEFAULT;
				};

				mfp_pins_group_1: mfp_pins_group_1 {
					pinctrl-single,pins = <CAM_MCLK>;
					MFP_DEFAULT;
				};

				/* Below pin need set to high otherwise there is leakage on 8777 wib.(P59<->P40) */
				mfp_pins_left_cp: mfp_pins_left_cp {
					pinctrl-single,pins = < GPIO(LTE_FS_GPIO) >;
					MFP_PULL_UP;
				};

				dvc_pins: pinmux_dvc_pins {
					pinctrl-single,pins = <
						DVC00
						DVC01
						DVC02
						DVC03
					>;
					MFP_DEFAULT;
				};

				sdh2_pins_pullup: pinmux_sdh2_pins_pullup {
					pinctrl-single,pins = <
						MMC2_DAT3
						MMC2_DAT2
						MMC2_DAT1
						MMC2_DAT0
						MMC2_CMD
					>;
					MFP_DEFAULT;
				};

				sdh2_pins_pullup_fast: pinmux_sdh2_pins_pullup_fast {
					pinctrl-single,pins = <
						MMC2_DAT3
						MMC2_DAT2
						MMC2_DAT1
						MMC2_DAT0
						MMC2_CMD
					>;
					DS_FAST;PULL_UP;EDGE_NONE;LPM_NONE;
				};

				sdh2_pins_pulldn: pinmux_sdh2_pins_pulldn {
					pinctrl-single,pins = <
						MMC2_CLK
					>;
					MFP_PULL_DOWN;
				};

				sdh2_pins_pulldn_fast: pinmux_sdh2_pins_pulldn_fast {
					pinctrl-single,pins = <
						MMC2_CLK
					>;
					DS_FAST;PULL_DOWN;EDGE_NONE;LPM_NONE;
				};

				sdh2_pins_pd_rst_off: pinmux_sdh2_pins_pd_rst_off {
					pinctrl-single,pins = <
						GPIO(WIFI_RST_N)
						GPIO(WIFI_PD_N)
					>;
					MFP_LPM_DRIVE_LOW;
				};

				sdh2_pins_pd_rst_on: pinmux_sdh2_pins_pd_rst_on {
					pinctrl-single,pins = <
						GPIO(WIFI_RST_N)
						GPIO(WIFI_PD_N)
					>;
					MFP_LPM_DRIVE_HIGH;
				};

				sdh2_pins_edge_wakeup: sdh2_pins_edge_wakeup {
					pinctrl-single,pins = <
				        MMC2_DAT1
				        >;
				        DS_MEDIUM;PULL_NONE;EDGE_BOTH;LPM_NONE;
			        };

				keypad_in_func: pinmux_keypad_in_func {
					pinctrl-single,pins = <KP_DKIN7 KP_DKIN1>;
					DS_MEDIUM;PULL_UP;EDGE_NONE;LPM_PULLHIGH;
				};

				gps_lpm_drv_low_pins: pinmux_gps_lpm_drv_low_pins {
					pinctrl-single,pins = <GPIO(GPS_RST_N) GPIO(GPS_ON_OFF)>;
					MFP_LPM_DRIVE_LOW;
				};

				gps_lpm_drv_high_pins: pinmux_gps_lpm_drv_high_pins {
					pinctrl-single,pins = <GPIO(GPS_RST_N)>;
					MFP_LPM_DRIVE_HIGH;
				};

				sspa0_func: sspa0_func {
					pinctrl-single,pins = <
						I2S_SYSCLK
						I2S_BITCLK
						I2S_SYNC
						I2S_DATA_OUT
						I2S_SDATA_IN
					>;
					MFP_DEFAULT;
				};

				sspa1_func: sspa1_func {
					pinctrl-single,pins = <
						I2S_SYNC_2
						I2S_BITCLK_2
						I2S_DATA_OUT_2
						I2S_SDATA_IN_2
					>;
					MFP_DEFAULT;
				};

				gps_eclk_pmx: gps_eclk_pmx {
					pinctrl-single,pins = <VCXO_OUT>;
					MFP_DEFAULT;
				};
			};

			seh {
				status = "okay";
			};

			acipc: acipc@d401c000 {
				status = "okay";
			};

			cp-load {
				compatible = "mrvl,cp_load";
				cp-type = <2>; /* pxa1928 */
				lpm-qos = <PM_QOS_CPUIDLE_BLOCK_AXI>;
				status = "okay";
			};
		};

		dec-devfreq {
			status = "okay";
		};

		enc-devfreq {
			status = "okay";
		};

		ddr-devfreq {
			status = "okay";
		};

		keyreset {
			compatible = "marvell,keyreset";
			keys-down = <0x73 0x72>;
			keyreset-need-panic;
		};

		soc-camera@0 {
			status = "okay";
		};

		soc-camera@1 {
			status = "okay";
		};

		mcam0: mcam@0 {
			sc2-i2c-dyn-ctrl;
			avdd_2v8-supply = <&ldo3>;
			avdd_2v8v4-supply = <&ldo18>;
			dovdd_1v8-supply = <&ldo6>;
			af_2v8-supply = <&ldo7>;
			dvdd_1v2-supply = <&ldo19>;
			pwdn-gpios = <&gpio CAM_MAIN_PWDN_N 0>;
			reset-gpios = <&gpio CAM1_RST_N 0>;
			dphy_val = <0xff1d00 0x00024733 0x04001001>;
			status = "disable";
		};

		mcam1: mcam@1 {
			sc2-i2c-dyn-ctrl;
			avdd_2v8-supply = <&ldo18>;
			avdd_2v8v4-supply = <&ldo18>;
			dovdd_1v8-supply = <&ldo6>;
			af_2v8-supply = <&ldo7>;
			dvdd_1v2-supply = <&ldo19>;
			pwdn-gpios = <&gpio CAM_SEC_PWDN_N 0>;
			reset-gpios = <&gpio CAM2_RST_N 0>;
			dphy_val = <0x0D06 0x0011 0x0900>;
			status = "okay";
		};
	};

	mmp_pcm_hostless: mmp_pcm_hostless {
		bus_number = <0>;
		compatible = "marvell,mmp-pcm-hostless";
		#dailink-cells = <1>;
		status = "okay";
	};

	snd_soc_dummy: snd_soc_dummy {
		compatible = "snd-soc-dummy";
		#dailink-cells = <1>;
		status = "okay";
	};

	sound {
		compatible = "marvell,map-card";
		map,dapm-route =
			"ADC input1", "TDM_MIC1_CAP",
			"ADC input2", "TDM_MIC2_CAP",
			"ADC input3", "BT_VC_UL",
			"TDM_OUT1_PLAYBACK", "DAC1 output out1",
			"TDM_OUT2_PLAYBACK", "DAC2 output out2",
			"BT_VC_DL", "i2s3_bt_vc",
			"I2S_SPKR_DL", "ain3_spkr_en";
		fe_i2s1: fe_i2s1 {
			compatible = "marvell,map-dailink-1";
			dai-name = "MAP I2S1 audio";
			stream-name = "map i2s1";
			marvell,cpu-dai = <&sspa0 0>;
			marvell,codec-dai = <&mmp_map_codec 1>;
		};
		fe_i2s2: fe_i2s2 {
			compatible = "marvell,map-dailink-1";
			dai-name = "MAP I2S4 audio";
			stream-name = "map i2s4";
			marvell,cpu-dai = <&sspa1 1>;
			marvell,codec-dai = <&mmp_map_codec 4>;
		};
		fe_i2s3: fe_i2s3 {
			compatible = "marvell,map-dailink-2";
			dai-name = "MAP I2S2 audio";
			stream-name = "map i2s2";
			marvell,cpu-dai = <&mmp_pcm_hostless 0>;
			marvell,codec-dai = <&mmp_map_codec 2>;
			marvell,dai-no-host-mode;
		};
		fe_i2s4: fe_i2s4 {
			compatible = "marvell,map-dailink-7";
			dai-name = "MAP I2S3 audio";
			stream-name = "map i2s3";
			marvell,cpu-dai = <&mmp_pcm_hostless 1>;
			marvell,codec-dai = <&mmp_map_codec 3>;
			marvell,dai-no-host-mode;
		};
		fe_i2s5: fe_i2s5 {
			compatible = "marvell,map-dailink-2";
			dai-name = "MAP I2S5 audio";
			stream-name = "map i2s5";
			marvell,cpu-dai = <&mmp_pcm_hostless 2>;
			marvell,codec-dai = <&mmp_map_codec 5>;
			marvell,dai-dynamic;
			marvell,dai-no-host-mode;
		};
		be_i2s1: be_i2s1 {
			compatible = "marvell,map-dailink-3";
			dai-name = "MAP AUXI2S audio";
			stream-name = "BT audio";
			marvell,cpu-dai = <&mmp_map_be 1>;
			marvell,codec-dai = <&snd_soc_dummy 0>;
			marvell,codec-name = "snd-soc-dummy";
			marvell,codec-dai-name = "snd-soc-dummy-dai";
			marvell,dai-no-pcm;
			marvell,dai-fixup = <0>;
		};
		be_i2s2: be_i2s2 {
			compatible = "marvell,map-dailink-6";
			dai-name = "MAP TDM hs audio";
			stream-name = "codec hs audio";
			marvell,cpu-dai = <&mmp_map_be_tdm 2>;
			marvell,codec-dai = <&pm860_codec 3>;
			marvell,dai-no-pcm;
			marvell,dai-fixup = <1>;
		};
		be_i2s3: be_i2s3 {
			compatible = "marvell,map-dailink-4";
			dai-name = "MAP TDM speaker audio";
			stream-name = "codec speaker audio";
			marvell,cpu-dai = <&mmp_map_be_tdm 1>;
			marvell,codec-dai = <&pm860_codec 4>;
			marvell,dai-no-pcm;
			marvell,dai-fixup = <1>;
		};
		be_i2s4: be_i2s4 {
			compatible = "marvell,map-dailink-5";
			dai-name = "MAP TDM mic1 audio";
			stream-name = "codec mic1 audio";
			marvell,cpu-dai = <&mmp_map_be_tdm 3>;
			marvell,codec-dai = <&pm860_codec 1>;
			marvell,dai-no-pcm;
		};
		be_i2s5: be_i2s5 {
			compatible = "marvell,map-dailink-5";
			dai-name = "MAP TDM mic2 audio";
			stream-name = "codec mic2 audio";
			marvell,cpu-dai = <&mmp_map_be_tdm 4>;
			marvell,codec-dai = <&pm860_codec 2>;
			marvell,dai-no-pcm;
		};
		be_i2s6: be_i2s6 {
			compatible = "marvell,map-dailink-8";
			dai-name = "MAP SPKI2S audio";
			stream-name = "I2S SPK audio";
			marvell,cpu-dai = <&mmp_map_be 4>;
			marvell,codec-dai = <&snd_soc_dummy 1>;
			marvell,codec-name = "snd-soc-dummy";
			marvell,codec-dai-name = "snd-soc-dummy-dai";
			marvell,dai-no-pcm;
		};
	};

	ion {
		marvell,ion-nr = <2>;
		status = "okay";
		marvell,ion-iommu = <1>;
		heap1 {
			marvell,ion-name = "carveout_heap";
			marvell,ion-type = <2>;
			marvell,ion-id = <2>;
			marvell,ion-base = <0x1200000>;
			marvell,ion-size = <0>;
		};
		heap2 {
			marvell,ion-name = "system_heap";
			marvell,ion-type = <0>;
			marvell,ion-id = <0>;
		};
	};

	/*
	 * ramoops:
	 * 256 KB memory starts at 0x8100000
	 * pstore dump: 2 chunks, totall 64 KB, 32 KB each
	 * console size: 192 KB
	 * no dump_oops
	 */
	ramoops {
		compatible = "pstore,ramoops";
		mem-size = <0x40000>;
		mem-address = <0x8100000>;
		record-size = <0x8000>;
		console-size = <0x30000>;
		dump-oops = <0>;
		status = "okay";
	};

	backlight: pwm-bl {
		compatible = "pwm-backlight";
		pwms = <&pwm2 0 100000>;

		brightness-levels = <1 2 3 4 5 6 7 8 9 10 11 12 13 14 15 16 17 18 19 20 21 22 23 24 25 26 27 28 28 29 30 31 32 33 34 35 36 37 38 39 40 41 42 43 44 45 46 47 48 49 50 51 52 53 54 55 56 57 58 59 60 61 62 63 64 65 66 67 68 69 70 71 72 73 74 75 76 77 78 79 80 81 82 83 84 85 86 87 88 89 90 91 92 93 94 95 96 97 98 99 100>;
		default-brightness-level = <40>;
	};

	vibrator {
		compatible = "pwm-vibrator";
		pwms = <&pwm3 0 1000>;
		min_timeout = <0>;
		duty_cycle = <800>;
		vibrator-supply = <&ldo10>;
	};

	panel: r63311 {
		compatible = "marvell,mmp-r63311";
		marvell,path-name = "mmp_pnpath";
		rst_gpio = <&gpio LCD_RESET_N 0>;
		power_gpio = <&gpio P_5V_EN 0>;
		iovdd-supply = <&buck2>;
		bl_gpio = <&gpio BACKLIGHT_EN 0>;
		status = "okay";
	};

	panel2: lg4591 {
		compatible = "marvell,mmp-lg4591";
		marvell,path-name = "mmp_pnpath";
		rst_gpio = <&gpio LCD_RESET_N 0>;
		iovdd-supply = <&buck2>;
		avdd-supply = <&ldo12>;
		status = "okay";
	};

	panel3: otm1281 {
		compatible = "marvell,mmp-otm1281";
		marvell,path-name = "mmp_pnpath";
		rst_gpio = <&gpio LCD_RESET_N 0>;
		iovdd-supply = <&buck2>;
		status = "okay";
	};

	panel4: hx8394 {
		compatible = "marvell,mmp-hx8394";
		marvell,path-name = "mmp_pnpath";
		rst_gpio = <&gpio LCD_RESET_N 0>;
		iovdd-supply = <&buck2>;
		avdd-supply = <&ldo12>;
		status = "okay";
	};

	/*
	 * V_WIB_1V8(ldo8/1.8v) and V_WIB_SYS(buck5/3.3v)
	 * are set to always on temperately.
	 * V_WIB_SDIO(buck2/1.8v) shared with other components and must keep on.
	 * The regulator transferred to driver mainly for sleep mode control.
	 */
	sd8x-rfkill {
		pinctrl-names = "off", "on";
		pinctrl-0 = <&sdh2_pins_pd_rst_off>;
		pinctrl-1 = <&sdh2_pins_pd_rst_on>;
		sd-host = <&sdh2>;
		pd-gpio = <&gpio WIFI_PD_N 0>;
		rst-gpio = <&gpio WIFI_RST_N 0>;
		wib_3v3-supply = <&buck5>;
		wib_1v8-supply = <&ldo8>;
		edge-wakeup-gpio = <&gpio MMC2_DAT1_GPIO 0>;
		status = "okay";
	};

	sd8xxx-wlan {
		drv_mode = <0x5>;
		cfg80211_wext = <0xc>;
		sta_name = "wlan";
		wfd_name = "p2p";
		max_vir_bss = <1>;
		drvdbg = <0x80007>;
		init_cfg = "mrvl/wifi_init_cfg.conf";
		reg_alpha2 = "US";
		p2p_enh = <1>;
	};

	sd8xxx-bt {
		init_cfg = "mrvl/bt_init_cfg.conf";
	};

	b52isp_sc2_csi0 {
		status = "okay";
	};

	b52isp_sc2_csi1 {
		status = "okay";
	};

	b52isp_sc2_dma0 {
		status = "okay";
	};

	b52isp_sc2_dma1 {
		status = "okay";
	};

	plat_cam {
		status = "okay";
		revision = <4>;
		frontsensor {
			compatible = "marvell,frontsensor";
			#address-cells = <1>;
			#size-cells = <0>;
			status = "okay";
			OV5648f: sensor@0 {
				compatible = "marvell,ov5648","marvell,sensor";
				sensor-name = "ovt,ov5648";
				sc2-i2c-dyn-ctrl;
				reg = <0x36>;
				adapter = <0x2>;
				status = "okay";
				sensor-pos = <2>; /*SCCB2/CCIC2*/
				mclk = <26000000>;
				dphy3 = <0x1500>;
				dphy5 = <0xff>;
				dphy6 = <0x1001>;
				af_2v8-supply = <&ldo7>;
				avdd_2v8-supply = <&ldo3>;
				avdd_2v8v4-supply = <&ldo18>;
				dovdd_1v8-supply = <&ldo6>;
				dvdd_1v2-supply = <&CAMERA_DVDD_SUPPLY>;
				sensor_power {
					pwdn-gpios = <&gpio CAM_SEC_PWDN_N 0>;
					reset-gpios = <&gpio CAM2_RST_N 0>;
					pwdn-validvalue = <0>;
					reset-validvalue = <0>;
					};
			};
			S5K5E3f: sensor@1 {
				compatible = "marvell,s5k5e3","marvell,sensor";
				sensor-name = "samsung,s5k5e3";
				sc2-i2c-dyn-ctrl;
				reg = <0x10>;
				adapter = <0x2>;
				status = "okay";
				sensor-pos = <2>;
				mclk = <2600000>;
				dphy3 = <0x5100>;
				dphy5 = <0xff>;
				dphy6 = <0x1001>;
				af_2v8-supply = <&ldo7>;
				avdd_2v8-supply = <&ldo3>;
				avdd_2v8v4-supply = <&ldo18>;
				dovdd_1v8-supply = <&ldo6>;
				dvdd_1v2-supply = <&CAMERA_DVDD_SUPPLY>;
				sensor_power {
					pwdn-gpios = <&gpio CAM_SEC_PWDN_N 0>;
					reset-gpios = <&gpio CAM2_RST_N 0>;
					pwdn-validvalue = <0>;
					reset-validvalue = <0>;
					};
			};
			OV2680f: sensor@2 {
				compatible = "marvell,ov2680","marvell,sensor";
				sensor-name = "ovt,ov2680";
				sc2-i2c-dyn-ctrl;
				reg = <0x36>;
				adapter = <0x2>;
				status = "okay";
				sensor-pos = <2>;
				mclk = <26000000>;
				dphy3 = <0x1500>;
				dphy5 = <0xff>;
				dphy6 = <0x1001>;
				af_2v8-supply = <&ldo7>;
				avdd_2v8-supply = <&ldo3>;
				avdd_2v8v4-supply = <&ldo18>;
				dovdd_1v8-supply = <&ldo6>;
				dvdd_1v2-supply = <&CAMERA_DVDD_SUPPLY>;
				sensor_power {
					pwdn-gpios = <&gpio CAM_SEC_PWDN_N 0>;
					reset-gpios = <&gpio CAM2_RST_N 0>;
					pwdn-validvalue = <0>;
					reset-validvalue = <0>;
					};
			};
			OV5670FF: sensor@3 {
				compatible = "marvell,ov5670ff","marvell,sensor";
				sensor-name = "ovt,ov5670";
				sc2-i2c-dyn-ctrl;
				reg = <0x10>;
				adapter = <0x2>;
				status = "okay";
				sensor-pos = <2>;
				mclk = <26000000>;
				dphy3 = <0x1500>;
				dphy5 = <0xff>;
				dphy6 = <0x1001>;
				af_2v8-supply = <&ldo7>;
				avdd_2v8-supply = <&ldo3>;
				avdd_2v8v4-supply = <&ldo18>;
				dovdd_1v8-supply = <&ldo6>;
				dvdd_1v2-supply = <&CAMERA_DVDD_SUPPLY>;
				sensor_power {
					pwdn-gpios = <&gpio CAM_SEC_PWDN_N 0>;
					reset-gpios = <&gpio CAM2_RST_N 0>;
					pwdn-validvalue = <0>;
					reset-validvalue = <0>;
					};
			};
			OV5670AF: sensor@4 {
				compatible = "marvell,ov5670af","marvell,sensor";
				sensor-name = "ovt,ov5670";
				sc2-i2c-dyn-ctrl;
				reg = <0x36>;
				adapter = <0x2>;
				status = "okay";
				sensor-pos = <2>;
				mclk = <26000000>;
				dphy3 = <0x1500>;
				dphy5 = <0xff>;
				dphy6 = <0x1001>;
				af_2v8-supply = <&ldo7>;
				avdd_2v8-supply = <&ldo3>;
				avdd_2v8v4-supply = <&ldo18>;
				dovdd_1v8-supply = <&ldo6>;
				dvdd_1v2-supply = <&CAMERA_DVDD_SUPPLY>;
				sensor_power {
					pwdn-gpios = <&gpio CAM_SEC_PWDN_N 0>;
					reset-gpios = <&gpio CAM2_RST_N 0>;
					pwdn-validvalue = <0>;
					reset-validvalue = <0>;
					};
			};
			OV2740: sensor@5 {
				compatible = "marvell,ov2740","marvell,sensor";
				sensor-name = "ovt,ov2740";
				sc2-i2c-dyn-ctrl;
				reg = <0x10>;
				adapter = <0x2>;
				status = "okay";
				sensor-pos = <2>;
				mclk = <26000000>;
				dphy3 = <0x5100>;
				dphy5 = <0xff>;
				dphy6 = <0x1001>;
				af_2v8-supply = <&ldo7>;
				avdd_2v8-supply = <&ldo3>;
				avdd_2v8v4-supply = <&ldo18>;
				dovdd_1v8-supply = <&ldo6>;
				dvdd_1v2-supply = <&CAMERA_DVDD_SUPPLY>;
				sensor_power  {
					pwdn-gpios = <&gpio CAM_SEC_PWDN_N 0>;
					reset-gpios = <&gpio CAM2_RST_N 0>;
					pwdn-validvalue = <0>;
					reset-validvalue = <0>;
					};
			};
		};
		backsensor {
			compatible = "marvell,backsensor";
			#address-cells = <1>;
			#size-cells = <0>;
			status = "okay";
			IMX219: sensor@0 {
				compatible = "marvell,imx219","marvell,sensor";
				sensor-name = "imx219";
				sc2-i2c-dyn-ctrl;
				reg = <0x1A>;
				adapter = <0x1>;
				status = "okay";
				sensor-pos = <1>;/*SCCB1/CCIC1*/
				mclk = <26000000>;
				dphy3 = <0x2700>;
				dphy5 = <0xff>;
				dphy6 = <0x1001>;
				af_2v8-supply = <&ldo7>;
				avdd_2v8-supply = <&ldo3>;
				avdd_2v8v4-supply = <&ldo18>;
				dovdd_1v8-supply = <&ldo6>;
				dvdd_1v2-supply = <&CAMERA_DVDD_SUPPLY>;
				sensor_power {
					pwdn-gpios = <&gpio CAM_MAIN_PWDN_N 0>;
					reset-gpios = <&gpio CAM1_RST_N 0>;
					pwdn-validvalue = <0>;
					reset-validvalue = <0>;
				};
			};
			OV13850: sensor@1 {
				compatible = "marvell,ov13850","marvell,sensor";
				sensor-name = "ovt,ov13850";
				sc2-i2c-dyn-ctrl;
				reg = <0x10>;
				adapter = <0x1>;
				status = "okay";
				sensor-pos = <1>;
				mclk = <26000000>;
				dphy3 = <0x1500>;
				dphy5 = <0xff>;
				dphy6 = <0x1001>;
				af_2v8-supply = <&ldo7>;
				avdd_2v8-supply = <&ldo3>;
				avdd_2v8v4-supply = <&ldo18>;
				dovdd_1v8-supply = <&ldo6>;
				dvdd_1v2-supply = <&CAMERA_DVDD_SUPPLY>;
				sensor_power {
					pwdn-gpios = <&gpio CAM_MAIN_PWDN_N 0>;
					reset-gpios = <&gpio CAM1_RST_N 0>;
					pwdn-validvalue = <0>;
					reset-validvalue = <0>;
				};
			};
			OV13850R2A: sensor@2 {
				compatible = "marvell,ov13850r2a","marvell,sensor";
				sensor-name = "ovt,ov13850r2a";
				sc2-i2c-dyn-ctrl;
				reg = <0x10>;
				adapter = <0x1>;
				status = "okay";
				sensor-pos = <1>;
				mclk = <24000000>;
				dphy3 = <0x5100>;
				dphy5 = <0xff>;
				dphy6 = <0x1001>;
				af_2v8-supply = <&ldo7>;
				avdd_2v8-supply = <&ldo3>;
				avdd_2v8v4-supply = <&ldo18>;
				dovdd_1v8-supply = <&ldo6>;
				dvdd_1v2-supply = <&CAMERA_DVDD_SUPPLY>;
				sensor_power {
					pwdn-gpios = <&gpio CAM_MAIN_PWDN_N 0>;
					reset-gpios = <&gpio CAM1_RST_N 0>;
					pwdn-validvalue = <0>;
					reset-validvalue = <0>;
				};
			};
			OV8858R1A: sensor@3 {
				compatible = "marvell,ov8858r1a","marvell,sensor";
				sensor-name = "ovt,ov8858r1a";
				sc2-i2c-dyn-ctrl;
				reg = <0x36>;
				adapter = <0x1>;
				status = "okay";
				sensor-pos = <1>;
				mclk = <26000000>;
				dphy3 = <0x1500>;
				dphy5 = <0xff>;
				dphy6 = <0x1001>;
				af_2v8-supply = <&ldo7>;
				avdd_2v8-supply = <&ldo3>;
				avdd_2v8v4-supply = <&ldo18>;
				dovdd_1v8-supply = <&ldo6>;
				dvdd_1v2-supply = <&CAMERA_DVDD_SUPPLY>;
				sensor_power {
					pwdn-gpios = <&gpio CAM_MAIN_PWDN_N 0>;
					reset-gpios = <&gpio CAM1_RST_N 0>;
					pwdn-validvalue = <0>;
					reset-validvalue = <0>;
				};
			};
			OV8858R2A: sensor@4 {
				compatible = "marvell,ov8858r2a","marvell,sensor";
				sensor-name = "ovt,ov8858ra2";
				sc2-i2c-dyn-ctrl;
				reg = <0x10>;
				adapter = <0x1>;
				status = "okay";
				sensor-pos = <1>;
				mclk = <26000000>;
				dphy3 = <0x1500>;
				dphy5 = <0xff>;
				dphy6 = <0x1001>;
				af_2v8-supply = <&ldo7>;
				avdd_2v8-supply = <&ldo3>;
				avdd_2v8v4-supply = <&ldo18>;
				dovdd_1v8-supply = <&ldo6>;
				dvdd_1v2-supply = <&CAMERA_DVDD_SUPPLY>;
				sensor_power {
					pwdn-gpios = <&gpio CAM_MAIN_PWDN_N 0>;
					reset-gpios = <&gpio CAM1_RST_N 0>;
					pwdn-validvalue = <0>;
					reset-validvalue = <0>;
				};
			};
			OV5648: sensor@5 {
			        compatible = "marvell,ov5648","marvell,sensor";
                                sensor-name = "ovt,ov5648";
                                sc2-i2c-dyn-ctrl;
                                reg = <0x36>;
                                adapter = <0x1>;
                                status = "okay";
                                sensor-pos = <1>;
                                mclk = <26000000>;
                                dphy3 = <0x1500>;
                                dphy5 = <0xff>;
                                dphy6 = <0x1001>;
                                af_2v8-supply = <&ldo7>;
                                avdd_2v8-supply = <&ldo3>;
                                avdd_2v8v4-supply = <&ldo18>;
                                dovdd_1v8-supply = <&ldo6>;
                                dvdd_1v2-supply = <&CAMERA_DVDD_SUPPLY>;
                                sensor_power {
                                    pwdn-gpios = <&gpio CAM_MAIN_PWDN_N 0>;
                                    reset-gpios = <&gpio CAM1_RST_N 0>;
                                    pwdn-validvalue = <0>;
                                    reset-validvalue = <0>;
                                };
                        };
                        OV2680: sensor@6 {
			        compatible = "marvell,ov2680","marvell,sensor";
                                sensor-name = "ovt,ov2680";
                                sc2-i2c-dyn-ctrl;
                                reg = <0x36>;
                                adapter = <0x1>;
                                status = "okay";
                                sensor-pos = <1>;
                                mclk = <26000000>;
                                dphy3 = <0x1500>;
                                dphy5 = <0xff>;
                                dphy6 = <0x1001>;
                                af_2v8-supply = <&ldo7>;
                                avdd_2v8-supply = <&ldo3>;
                                avdd_2v8v4-supply = <&ldo18>;
                                dovdd_1v8-supply = <&ldo6>;
                                dvdd_1v2-supply = <&CAMERA_DVDD_SUPPLY>;
                                sensor_power {
                                    pwdn-gpios = <&gpio CAM_MAIN_PWDN_N 0>;
                                    reset-gpios = <&gpio CAM1_RST_N 0>;
                                    pwdn-validvalue = <0>;
                                    reset-validvalue = <0>;
                                };
                        };
                        S5K5E3: sensor@7 {
                                compatible = "marvell,s5k5e3","marvell,sensor";
                                sensor-name = "samsung,s5k5e3";
                                sc2-i2c-dyn-ctrl;
                                reg = <0x10>;
                                adapter = <0x1>;
                                status = "okay";
                                sensor-pos = <1>;
                                mclk = <2600000>;
                                dphy3 = <0x5100>;
                                dphy5 = <0xff>;
                                dphy6 = <0x1001>;
                                af_2v8-supply = <&ldo7>;
                                avdd_2v8-supply = <&ldo3>;
                                avdd_2v8v4-supply = <&ldo18>;
                                dovdd_1v8-supply = <&ldo6>;
                                dvdd_1v2-supply = <&CAMERA_DVDD_SUPPLY>;
                                sensor_power {
                                    pwdn-gpios = <&gpio CAM_MAIN_PWDN_N 0>;
                                    reset-gpios = <&gpio CAM1_RST_N 0>;
                                    pwdn-validvalue = <0>;
                                    reset-validvalue = <0>;
                                };
                        };
                        S5K5E2: sensor@8 {
                                compatible = "marvell,s5k5e2","marvell,sensor";
                                sensor-name = "samsung,s5k5e2";
                                sc2-i2c-dyn-ctrl;
                                reg = <0x10>;
                                adapter = <0x1>;
                                status = "okay";
                                sensor-pos = <1>;
                                mclk = <2600000>;
                                dphy3 = <0x5100>;
                                dphy5 = <0xff>;
                                dphy6 = <0x1001>;
                                af_2v8-supply = <&ldo7>;
                                avdd_2v8-supply = <&ldo3>;
                                avdd_2v8v4-supply = <&ldo18>;
                                dovdd_1v8-supply = <&ldo6>;
                                dvdd_1v2-supply = <&CAMERA_DVDD_SUPPLY>;
                                sensor_power {
                                    pwdn-gpios = <&gpio CAM_MAIN_PWDN_N 0>;
                                    reset-gpios = <&gpio CAM1_RST_N 0>;
                                    pwdn-validvalue = <0>;
                                    reset-validvalue = <0>;
                                };
                        };
		};
	};

	tzdd {
		status = "okay";
	};

	dip {
		compatible = "marvell,simple-dip";
		plat = <2>;
	};

	chip_type {
		type = <0x2>;		/* set to PXA1928_4L_DISCRETE by default, which will be updated by uboot */
	};
};
